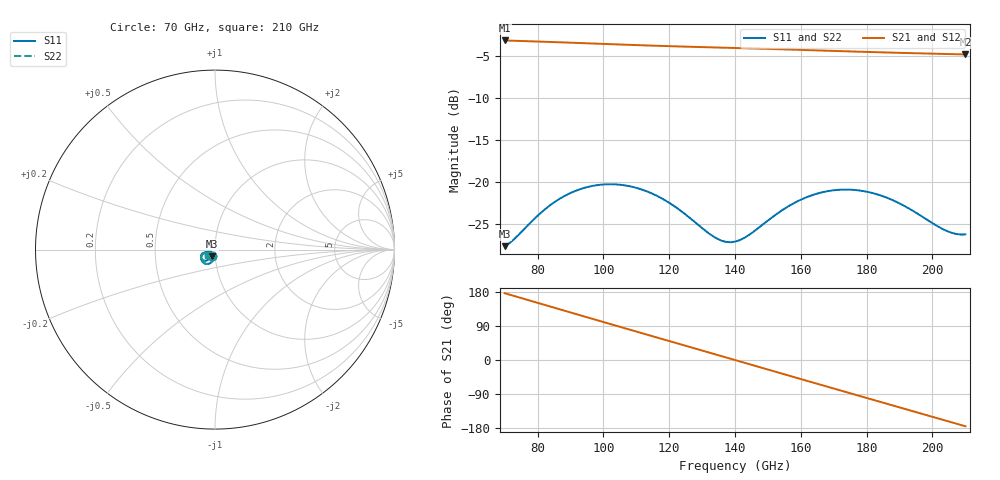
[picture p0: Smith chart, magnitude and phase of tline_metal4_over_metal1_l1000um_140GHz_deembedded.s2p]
! Created with skrf 2.2.0 (http://scikit-rf.org).
# GHz S DB R 50.0
! Port[1] = P1
! Port[2] = P2
!freq dBS11 angS11 dBS21 angS21 dBS12 angS12 dBS22 angS22
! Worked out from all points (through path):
!   101 points, 70 GHz to 210 GHz, reference 50 ohm
!   highest |S21| = -3.18 dB at 70 GHz (marker M1); lowest = -4.8 dB at 210 GHz (marker M2)
!   group delay of S21, straight-line fit = 6.96 ps
!   lowest |S11| = -27.6 dB at 70 GHz (marker M3), VSWR 1.09, Z = 48 - j3.56 ohm
!   |S11| at or under -10 dB: start of sweep to end of sweep
!   |S22| runs from -27.7 to -20.3 dB; largest |S21 - S12| = 7.2e-14
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70  -27.63 -117.1  -3.18 176.3  -3.18 176.3  -27.71 -116.4
75.6  -25.74 -104.7  -3.25 162.1  -3.25 162.1  -25.76 -103.9
81.2  -23.60 -104.0  -3.33 147.9  -3.33 147.9  -23.59 -103.4
88.2  -21.67 -111.3  -3.42 130.1  -3.42 130.1  -21.65 -110.8
93.8  -20.75 -119.8  -3.50 115.9  -3.50 115.9  -20.73 -119.5
99.4  -20.32 -129.2  -3.58 101.8  -3.58 101.8  -20.30 -128.9
105  -20.33 -138.7  -3.66 87.7  -3.66 87.7  -20.32 -138.5
110.6  -20.76 -147.6  -3.74 73.6  -3.74 73.6  -20.77 -147.4
117.6  -21.92 -156.8  -3.83 56.1  -3.83 56.1  -21.94 -156.7
128.8  -25.09 -160.9  -3.96 28.0  -3.96 28.0  -25.17 -160.7
135.8  -26.96 -149.5  -4.03 10.5  -4.03 10.5  -27.09 -148.9
140  -27.10 -138.5  -4.08 -0.1  -4.08 -0.1  -27.20 -137.5
145.6  -25.92 -127.1  -4.14 -14.1  -4.14 -14.1  -25.97 -125.8
151.2  -24.23 -123.5  -4.20 -28.2  -4.20 -28.2  -24.23 -122.3
163.8  -21.52 -132.4  -4.35 -59.8  -4.35 -59.8  -21.48 -131.4
169.4  -21.02 -139.4  -4.42 -73.8  -4.42 -73.8  -20.96 -138.5
175  -20.91 -146.8  -4.49 -87.7  -4.49 -87.7  -20.86 -145.8
180.6  -21.20 -153.8  -4.55 -101.7  -4.55 -101.7  -21.14 -152.9
187.6  -22.11 -160.9  -4.63 -119.1  -4.63 -119.1  -22.03 -160.0
198.8  -24.60 -163.3  -4.74 -147.0  -4.74 -147.0  -24.51 -162.6
205.8  -26.04 -154.5  -4.81 -164.4  -4.81 -164.4  -25.95 -153.9
210  -26.23 -146.1  -4.85 -174.9  -4.85 -174.9  -26.15 -145.5
